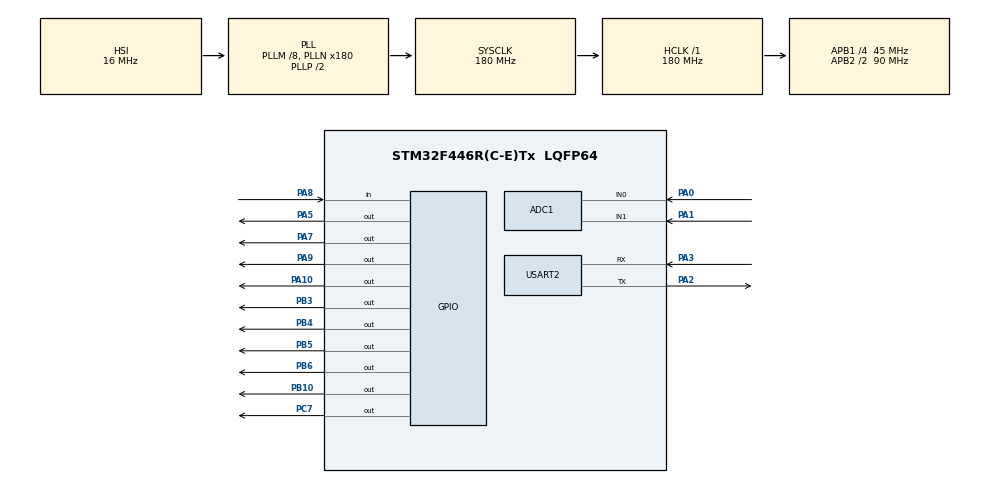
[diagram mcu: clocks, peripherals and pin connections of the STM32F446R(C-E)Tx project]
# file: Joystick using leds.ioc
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ADC1.Channel-0\#ChannelRegularConversion=ADC_CHANNEL_0
ADC1.Channel-1\#ChannelRegularConversion=ADC_CHANNEL_1
ADC1.ContinuousConvMode=ENABLE
ADC1.DMAContinuousRequests=ENABLE
ADC1.NbrOfConversion=2
ADC1.NbrOfConversionFlag=1
ADC1.Rank-0\#ChannelRegularConversion=1
ADC1.Rank-1\#ChannelRegularConversion=2
ADC1.SamplingTime-0\#ChannelRegularConversion=ADC_SAMPLETIME_480CYCLES
ADC1.SamplingTime-1\#ChannelRegularConversion=ADC_SAMPLETIME_480CYCLES
ADC1.master=1
Dma.ADC1.0.Direction=DMA_PERIPH_TO_MEMORY
Dma.ADC1.0.FIFOMode=DMA_FIFOMODE_DISABLE
Dma.ADC1.0.Instance=DMA2_Stream0
Dma.ADC1.0.MemDataAlignment=DMA_MDATAALIGN_WORD
Dma.ADC1.0.MemInc=DMA_MINC_ENABLE
Dma.ADC1.0.Mode=DMA_CIRCULAR
Dma.ADC1.0.PeriphDataAlignment=DMA_PDATAALIGN_WORD
Dma.ADC1.0.PeriphInc=DMA_PINC_DISABLE
Dma.ADC1.0.Priority=DMA_PRIORITY_HIGH
Dma.Request0=ADC1
Mcu.Family=STM32F4
Mcu.Name=STM32F446R(C-E)Tx
Mcu.Package=LQFP64
NVIC.ADC_IRQn=true\:0\:0\:false\:false\:true\:true\:true\:true
NVIC.DMA2_Stream0_IRQn=true\:0\:0\:false\:false\:true\:false\:true\:true
NVIC.PriorityGroup=NVIC_PRIORITYGROUP_0
PA0-WKUP.Signal=ADCx_IN0
PA1.Signal=ADCx_IN1
PA10.Signal=GPIO_Output
PA13.Mode=Serial_Wire
PA13.Signal=SYS_JTMS-SWDIO
PA14.Mode=Serial_Wire
PA14.Signal=SYS_JTCK-SWCLK
PA2.Mode=Asynchronous
PA2.Signal=USART2_TX
PA3.Mode=Asynchronous
PA3.Signal=USART2_RX
PA5.Signal=GPIO_Output
PA7.Signal=GPIO_Output
PA8.GPIO_PuPd=GPIO_PULLUP
PA8.Signal=GPIO_Input
PA9.Signal=GPIO_Output
PB10.Signal=GPIO_Output
PB3.Signal=GPIO_Output
PB4.Signal=GPIO_Output
PB5.Signal=GPIO_Output
PB6.Signal=GPIO_Output
PC7.Signal=GPIO_Output
PH0-OSC_IN.Mode=HSE-External-Oscillator
PH0-OSC_IN.Signal=RCC_OSC_IN
PH1-OSC_OUT.Mode=HSE-External-Oscillator
PH1-OSC_OUT.Signal=RCC_OSC_OUT
ProjectManager.HeapSize=0x200
ProjectManager.StackSize=0x400
ProjectManager.TargetToolchain=STM32CubeIDE
RCC.48MHZClocksFreq_Value=84000000
RCC.AHBFreq_Value=180000000
RCC.APB1CLKDivider=RCC_HCLK_DIV4
RCC.APB1Freq_Value=45000000
RCC.APB1TimFreq_Value=90000000
RCC.APB2CLKDivider=RCC_HCLK_DIV2
RCC.APB2Freq_Value=90000000
RCC.APB2TimFreq_Value=180000000
RCC.CortexFreq_Value=180000000
RCC.FLatency-AdvancedSettings=FLASH_LATENCY_5
RCC.HCLKFreq_Value=180000000
RCC.HSE_VALUE=8000000
RCC.HSI_VALUE=16000000
RCC.PLLM=8
RCC.PLLN=180
RCC.SYSCLKFreq_VALUE=180000000
RCC.SYSCLKSource=RCC_SYSCLKSOURCE_PLLCLK
RCC.USBFreq_Value=180000000
RCC.VCOOutputFreq_Value=360000000
SH.ADCx_IN0.0=ADC1_IN0,IN0
SH.ADCx_IN1.0=ADC1_IN1,IN1
USART2.VirtualMode=VM_ASYNC
board=NUCLEO-F446RE

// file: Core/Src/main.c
/* USER CODE BEGIN Header */
/**
  ******************************************************************************
  * @file           : main.c
  * @brief          : Main program body
  ******************************************************************************
  * @attention
  *
  * Copyright (c) 2026 STMicroelectronics.
  * All rights reserved.
  *
  * This software is licensed under terms that can be found in the LICENSE file
  * in the root directory of this software component.
  * If no LICENSE file comes with this software, it is provided AS-IS.
  *
  ******************************************************************************
  */
/* USER CODE END Header */
#include "main.h"

/* USER CODE BEGIN Includes */
#include "string.h"
#include "stdio.h"
/* USER CODE END Includes */

ADC_HandleTypeDef hadc1;
DMA_HandleTypeDef hdma_adc1;

UART_HandleTypeDef huart2;

/* USER CODE BEGIN PV */
uint16_t x;
uint16_t y;
uint32_t readValue[2];
uint8_t button_state;
char buffer[50];
/* USER CODE END PV */

void SystemClock_Config(void);
static void MX_GPIO_Init(void);
static void MX_DMA_Init(void);
static void MX_ADC1_Init(void);
static void MX_USART2_UART_Init(void);

int main(void)
{

  /* MCU Configuration--------------------------------------------------------*/

  /* Reset of all peripherals, Initializes the Flash interface and the Systick. */
  HAL_Init();

  /* Configure the system clock */
  SystemClock_Config();

  /* Initialize all configured peripherals */
  MX_GPIO_Init();
  MX_DMA_Init();
  MX_ADC1_Init();
  MX_USART2_UART_Init();
  /* USER CODE BEGIN 2 */
  HAL_ADC_Start_DMA(&hadc1, (uint32_t *)readValue, 2);
  /* USER CODE END 2 */

  /* Infinite loop */
  while (1)
  {

    /* USER CODE BEGIN 3 */
		for (uint8_t i = 0; i < 2; i++) {
			x = readValue[0];
			y = readValue[1];

		}
		button_state = HAL_GPIO_ReadPin(GPIOA, GPIO_PIN_8);
		snprintf(buffer, sizeof(buffer),"Xvalue : %d,Yvalue : %d,Button : %d\r\n", x, y,button_state);
		HAL_UART_Transmit(&huart2, (uint8_t*) buffer, strlen(buffer),HAL_MAX_DELAY);
		HAL_Delay(30);

		if(button_state==0)
		{
			HAL_GPIO_WritePin(GPIOA, GPIO_PIN_5, 1);
		}
		else if(button_state==1)
		{
			HAL_GPIO_WritePin(GPIOA, GPIO_PIN_5, 0);
		}

		if((x>4000) && (y>2000) && (y<2500))
		{
			HAL_GPIO_WritePin(GPIOA, GPIO_PIN_10, 1);
		}
		else if ((x < 500) && (y > 2000) && (y < 2500)) {
			HAL_GPIO_WritePin(GPIOB, GPIO_PIN_3, 1);
		}
		else if ((x > 1900) && (x < 2500) && (y > 4000)) {
			HAL_GPIO_WritePin(GPIOB, GPIO_PIN_10, 1);
		}
		else if ((x > 1900) && (x < 2500) && (y < 500)) {
			HAL_GPIO_WritePin(GPIOA, GPIO_PIN_7, 1);
		}

		else if ((x > 4000) && (y > 4000)) {
			HAL_GPIO_WritePin(GPIOB, GPIO_PIN_5, 1);
		}
		else if ((x <500) && (y <500)) {
			HAL_GPIO_WritePin(GPIOB, GPIO_PIN_6, 1);
		}
		else if ((x >4000) && (y < 500)) {
			HAL_GPIO_WritePin(GPIOC, GPIO_PIN_7, 1);
		}
		else if ((x < 500) && (y > 4000)) {
			HAL_GPIO_WritePin(GPIOB, GPIO_PIN_4, 1);
		}

		else
		{
			HAL_GPIO_WritePin(GPIOA, GPIO_PIN_10,0);
			HAL_GPIO_WritePin(GPIOB, GPIO_PIN_3, 0);
			HAL_GPIO_WritePin(GPIOB, GPIO_PIN_10,0);
			HAL_GPIO_WritePin(GPIOA, GPIO_PIN_7, 0);
			HAL_GPIO_WritePin(GPIOB, GPIO_PIN_5, 0);
			HAL_GPIO_WritePin(GPIOB, GPIO_PIN_6, 0);
			HAL_GPIO_WritePin(GPIOC, GPIO_PIN_7, 0);
			HAL_GPIO_WritePin(GPIOB, GPIO_PIN_4, 0);
		}

  }
  /* USER CODE END 3 */
}

void SystemClock_Config(void)
{
  RCC_OscInitTypeDef RCC_OscInitStruct = {0};
  RCC_ClkInitTypeDef RCC_ClkInitStruct = {0};

  /** Configure the main internal regulator output voltage
  */
  __HAL_RCC_PWR_CLK_ENABLE();
  __HAL_PWR_VOLTAGESCALING_CONFIG(PWR_REGULATOR_VOLTAGE_SCALE1);

  /** Initializes the RCC Oscillators according to the specified parameters
  * in the RCC_OscInitTypeDef structure.
  */
  RCC_OscInitStruct.OscillatorType = RCC_OSCILLATORTYPE_HSI;
  RCC_OscInitStruct.HSIState = RCC_HSI_ON;
  RCC_OscInitStruct.HSICalibrationValue = RCC_HSICALIBRATION_DEFAULT;
  RCC_OscInitStruct.PLL.PLLState = RCC_PLL_ON;
  RCC_OscInitStruct.PLL.PLLSource = RCC_PLLSOURCE_HSI;
  RCC_OscInitStruct.PLL.PLLM = 8;
  RCC_OscInitStruct.PLL.PLLN = 180;
  RCC_OscInitStruct.PLL.PLLP = RCC_PLLP_DIV2;
  RCC_OscInitStruct.PLL.PLLQ = 2;
  RCC_OscInitStruct.PLL.PLLR = 2;
  if (HAL_RCC_OscConfig(&RCC_OscInitStruct) != HAL_OK)
  {
    Error_Handler();
  }

  /** Activate the Over-Drive mode
  */
  if (HAL_PWREx_EnableOverDrive() != HAL_OK)
  {
    Error_Handler();
  }

  /** Initializes the CPU, AHB and APB buses clocks
  */
  RCC_ClkInitStruct.ClockType = RCC_CLOCKTYPE_HCLK|RCC_CLOCKTYPE_SYSCLK
                              |RCC_CLOCKTYPE_PCLK1|RCC_CLOCKTYPE_PCLK2;
  RCC_ClkInitStruct.SYSCLKSource = RCC_SYSCLKSOURCE_PLLCLK;
  RCC_ClkInitStruct.AHBCLKDivider = RCC_SYSCLK_DIV1;
  RCC_ClkInitStruct.APB1CLKDivider = RCC_HCLK_DIV4;
  RCC_ClkInitStruct.APB2CLKDivider = RCC_HCLK_DIV2;

  if (HAL_RCC_ClockConfig(&RCC_ClkInitStruct, FLASH_LATENCY_5) != HAL_OK)
  {
    Error_Handler();
  }
}

static void MX_ADC1_Init(void)
{

  ADC_ChannelConfTypeDef sConfig = {0};

  /** Configure the global features of the ADC (Clock, Resolution, Data Alignment and number of conversion)
  */
  hadc1.Instance = ADC1;
  hadc1.Init.ClockPrescaler = ADC_CLOCK_SYNC_PCLK_DIV4;
  hadc1.Init.Resolution = ADC_RESOLUTION_12B;
  hadc1.Init.ScanConvMode = ENABLE;
  hadc1.Init.ContinuousConvMode = ENABLE;
  hadc1.Init.DiscontinuousConvMode = DISABLE;
  hadc1.Init.ExternalTrigConvEdge = ADC_EXTERNALTRIGCONVEDGE_NONE;
  hadc1.Init.ExternalTrigConv = ADC_SOFTWARE_START;
  hadc1.Init.DataAlign = ADC_DATAALIGN_RIGHT;
  hadc1.Init.NbrOfConversion = 2;
  hadc1.Init.DMAContinuousRequests = ENABLE;
  hadc1.Init.EOCSelection = ADC_EOC_SINGLE_CONV;
  if (HAL_ADC_Init(&hadc1) != HAL_OK)
  {
    Error_Handler();
  }

  /** Configure for the selected ADC regular channel its corresponding rank in the sequencer and its sample time.
  */
  sConfig.Channel = ADC_CHANNEL_0;
  sConfig.Rank = 1;
  sConfig.SamplingTime = ADC_SAMPLETIME_480CYCLES;
  if (HAL_ADC_ConfigChannel(&hadc1, &sConfig) != HAL_OK)
  {
    Error_Handler();
  }

  /** Configure for the selected ADC regular channel its corresponding rank in the sequencer and its sample time.
  */
  sConfig.Channel = ADC_CHANNEL_1;
  sConfig.Rank = 2;
  if (HAL_ADC_ConfigChannel(&hadc1, &sConfig) != HAL_OK)
  {
    Error_Handler();
  }

}

static void MX_USART2_UART_Init(void)
{

  huart2.Instance = USART2;
  huart2.Init.BaudRate = 115200;
  huart2.Init.WordLength = UART_WORDLENGTH_8B;
  huart2.Init.StopBits = UART_STOPBITS_1;
  huart2.Init.Parity = UART_PARITY_NONE;
  huart2.Init.Mode = UART_MODE_TX_RX;
  huart2.Init.HwFlowCtl = UART_HWCONTROL_NONE;
  huart2.Init.OverSampling = UART_OVERSAMPLING_16;
  if (HAL_UART_Init(&huart2) != HAL_OK)
  {
    Error_Handler();
  }

}

static void MX_DMA_Init(void)
{

  /* DMA controller clock enable */
  __HAL_RCC_DMA2_CLK_ENABLE();

  /* DMA interrupt init */
  /* DMA2_Stream0_IRQn interrupt configuration */
  HAL_NVIC_SetPriority(DMA2_Stream0_IRQn, 0, 0);
  HAL_NVIC_EnableIRQ(DMA2_Stream0_IRQn);

}

static void MX_GPIO_Init(void)
{
  GPIO_InitTypeDef GPIO_InitStruct = {0};

  /* GPIO Ports Clock Enable */
  __HAL_RCC_GPIOH_CLK_ENABLE();
  __HAL_RCC_GPIOA_CLK_ENABLE();
  __HAL_RCC_GPIOB_CLK_ENABLE();
  __HAL_RCC_GPIOC_CLK_ENABLE();

  /*Configure GPIO pin Output Level */
  HAL_GPIO_WritePin(GPIOA, GPIO_PIN_5|GPIO_PIN_7|GPIO_PIN_9|GPIO_PIN_10, GPIO_PIN_RESET);

  /*Configure GPIO pin Output Level */
  HAL_GPIO_WritePin(GPIOB, GPIO_PIN_10|GPIO_PIN_3|GPIO_PIN_4|GPIO_PIN_5
                          |GPIO_PIN_6, GPIO_PIN_RESET);

  /*Configure GPIO pin Output Level */
  HAL_GPIO_WritePin(GPIOC, GPIO_PIN_7, GPIO_PIN_RESET);

  /*Configure GPIO pins : PA5 PA7 PA9 PA10 */
  GPIO_InitStruct.Pin = GPIO_PIN_5|GPIO_PIN_7|GPIO_PIN_9|GPIO_PIN_10;
  GPIO_InitStruct.Mode = GPIO_MODE_OUTPUT_PP;
  GPIO_InitStruct.Pull = GPIO_NOPULL;
  GPIO_InitStruct.Speed = GPIO_SPEED_FREQ_LOW;
  HAL_GPIO_Init(GPIOA, &GPIO_InitStruct);

  /*Configure GPIO pins : PB10 PB3 PB4 PB5
                           PB6 */
  GPIO_InitStruct.Pin = GPIO_PIN_10|GPIO_PIN_3|GPIO_PIN_4|GPIO_PIN_5
                          |GPIO_PIN_6;
  GPIO_InitStruct.Mode = GPIO_MODE_OUTPUT_PP;
  GPIO_InitStruct.Pull = GPIO_NOPULL;
  GPIO_InitStruct.Speed = GPIO_SPEED_FREQ_LOW;
  HAL_GPIO_Init(GPIOB, &GPIO_InitStruct);

  /*Configure GPIO pin : PC7 */
  GPIO_InitStruct.Pin = GPIO_PIN_7;
  GPIO_InitStruct.Mode = GPIO_MODE_OUTPUT_PP;
  GPIO_InitStruct.Pull = GPIO_NOPULL;
  GPIO_InitStruct.Speed = GPIO_SPEED_FREQ_LOW;
  HAL_GPIO_Init(GPIOC, &GPIO_InitStruct);

  /*Configure GPIO pin : PA8 */
  GPIO_InitStruct.Pin = GPIO_PIN_8;
  GPIO_InitStruct.Mode = GPIO_MODE_INPUT;
  GPIO_InitStruct.Pull = GPIO_PULLUP;
  HAL_GPIO_Init(GPIOA, &GPIO_InitStruct);

}

void Error_Handler(void)
{
  __disable_irq();
  while (1)
  {
  }
}
